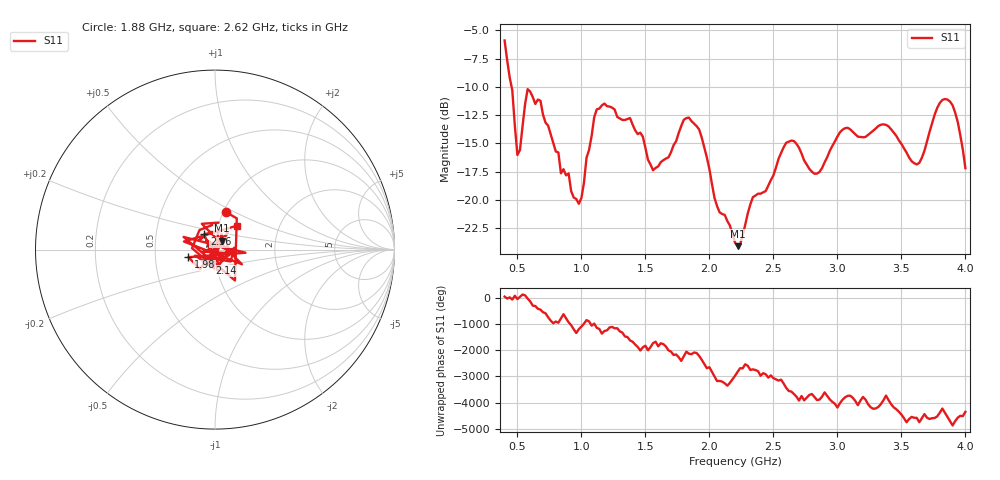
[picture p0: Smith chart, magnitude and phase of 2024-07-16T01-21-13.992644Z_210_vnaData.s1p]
!Created with skrf (http://scikit-rf.org).
# Hz S RI R 50.0
!freq ReS11 ImS11
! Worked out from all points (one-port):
!   181 points, 400 MHz to 4 GHz, reference 50 ohm
!   lowest |S11| = -24.1 dB at 2.22 GHz (marker M1), VSWR 1.13, Z = 53.6 + j5.4 ohm
!   |S11| at or under -10 dB: 454.7 MHz to end of sweep
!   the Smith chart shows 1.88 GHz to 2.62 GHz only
!   S11 on the Smith chart (normalised r, x): 1.88 GHz: 1.03, +0.45; 1.98 GHz: 0.74, -0.06; 2.14 GHz: 0.93, -0.14; 2.36 GHz: 0.87, +0.15; 2.62 GHz: 1.23, +0.34
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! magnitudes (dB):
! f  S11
! 400 MHz  -5.9
! 460 MHz  -10.3
! 500 MHz  -16.0
! 580 MHz  -10.2
! 860 MHz  -17.3
! 980 MHz  -20.4
! 1.12 GHz  -12.0
! 1.3 GHz  -12.8
! 1.46 GHz  -14.1
! 1.56 GHz  -17.4
! 1.76 GHz  -14.1
! 1.88 GHz  -13.2
! 1.98 GHz  -16.2
! 2.06 GHz  -20.6
! 2.14 GHz  -21.9
! 2.2 GHz  -23.8
! 2.22 GHz  -24.1
! 2.36 GHz  -19.6
! 2.62 GHz  -14.8
! 2.66 GHz  -14.8
! 2.84 GHz  -17.7
! 3.1 GHz  -13.8
! 3.38 GHz  -13.4
! 3.56 GHz  -16.2
! 3.64 GHz  -16.7
! 3.84 GHz  -11.1
! 3.92 GHz  -12.3
! 4 GHz  -17.2
